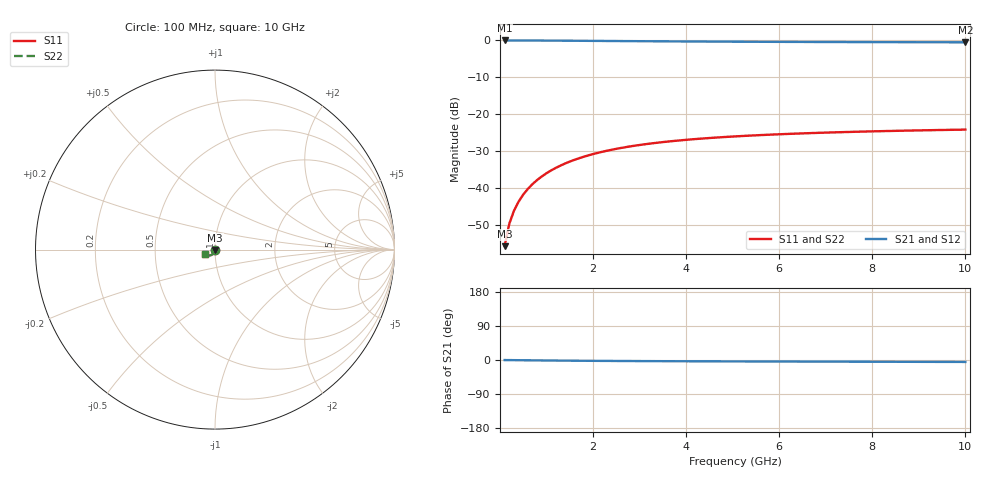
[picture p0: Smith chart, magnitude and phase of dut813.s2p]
! Touchstone file exported from HFSS 2024.1.0
!  File:  C:/UserFiles/LocalFiles/RDL_TSV_Batchsim/temp_TSV1_813_1779877513.aedt
!  Generated:  06:29:28 PM May 27, 2026
!  Design:  TSV1
!  Project:  temp_TSV1_813_1779877513
!  Setup:  Setup1
!  Solution:  Sweep
! Variables:
!  dtsv = 13.13um
!  hbump = 3um
!  htsv = 77.82um
!  lrdl = 252.1521522um
!  p = 40
!  p1 = 43.17um
!  t = 500um
!  trdl = 3um
!  wrdl = 24.89489489um
# GHz S MA R 50.000000
! Terminal data exported
! Port[1] = TSV22_T1
! Port[2] = TSV22_T2
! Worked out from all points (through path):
!   100 points, 100 MHz to 10 GHz, reference 50 ohm
!   highest |S21| = 0.00 dB at 100 MHz (marker M1); lowest = -0.5 dB at 10 GHz (marker M2)
!   lowest |S11| = -55.7 dB at 100 MHz (marker M3), VSWR 1.00, Z = 50 - j0.164 ohm
!   |S11| at or under -10 dB: start of sweep to end of sweep
!   |S22| runs from -55.7 to -24.1 dB; largest |S21 - S12| = 6e-15
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0.1  0.001637 -88.3  0.9999 -0.1  0.9999 -0.1  0.001637 -88.3
! Gamma 0 0 0 0
! Port Impedance 50 0 50 0
0.2  0.003283 -91.2  0.9997 -0.3  0.9997 -0.3  0.003283 -91.2
0.3  0.004925 -93.2  0.9995 -0.4  0.9995 -0.4  0.004925 -93.2
0.4  0.006557 -95.0  0.9992 -0.5  0.9992 -0.5  0.006557 -95.0
0.5  0.008173 -96.7  0.9988 -0.7  0.9988 -0.7  0.008173 -96.7
0.6  0.00977 -98.3  0.9983 -0.8  0.9983 -0.8  0.00977 -98.3
0.7  0.01135 -99.8  0.9978 -0.9  0.9978 -0.9  0.01135 -99.8
0.8  0.0129 -101.4  0.9972 -1.0  0.9972 -1.0  0.0129 -101.4
0.9  0.01442 -102.8  0.9965 -1.1  0.9965 -1.1  0.01442 -102.8
1.1  0.01737 -105.7  0.995 -1.4  0.995 -1.4  0.01737 -105.7
1.4  0.02155 -109.7  0.9924 -1.7  0.9924 -1.7  0.02155 -109.7
1.6  0.02416 -112.3  0.9906 -1.9  0.9906 -1.9  0.02416 -112.3
1.8  0.02662 -114.7  0.9887 -2.0  0.9887 -2.0  0.02662 -114.7
2.1  0.03002 -118.1  0.9858 -2.3  0.9858 -2.3  0.03002 -118.1
2.5  0.03406 -122.2  0.9819 -2.6  0.9819 -2.6  0.03406 -122.2
2.9  0.03758 -125.9  0.9781 -2.8  0.9781 -2.8  0.03758 -125.9
3.4  0.04134 -129.9  0.9737 -3.1  0.9737 -3.1  0.04134 -129.9
4.2  0.04619 -135.3  0.9675 -3.4  0.9675 -3.4  0.04619 -135.3
5.1  0.05038 -140.1  0.9617 -3.7  0.9617 -3.7  0.05038 -140.1
6.7  0.05569 -146.6  0.9539 -4.2  0.9539 -4.2  0.05569 -146.6
8.4  0.0595 -151.5  0.9481 -4.7  0.9481 -4.7  0.0595 -151.5
10  0.06202 -155.1  0.9441 -5.1  0.9441 -5.1  0.06202 -155.1
